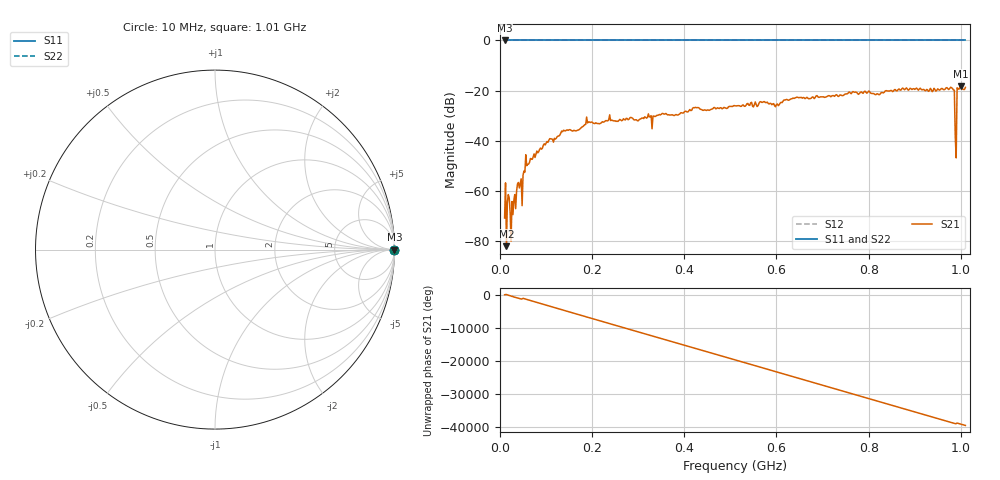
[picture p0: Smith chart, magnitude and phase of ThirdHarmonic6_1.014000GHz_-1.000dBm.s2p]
! 8/16/2025 8:24:14 AM
! C:\ANRITSUVNA\TEMP\TEMP.S2P
! CHANNEL.1
! TR.MEASUREMENT
! RAW.DATA
! RF.CORRECTION.OFF
! AVERAGING.OFF
! IF.BANDWIDTH: 5KHZ
! SWEEPTYPE:  FREQ.SWEEP(Linear)
! Reference Plane Port Info
! PORT:  PORT1  PORT2
! DISTANCE:  0  m  0  m
! TIME:  0  s  0  s
! PHASE.OFFSET:  0  deg.  0  deg.
! LOSS:  0  dB  0  dB
! REF.LOSS:  0  dB  0  dB
! REF.FREQ:  0  Hz  0  Hz
! Power Info
! POWER:  -20  dBm  -20  dBm
! EFF.POWER:  -20  dBm  -20  dBm
! SOURCE.ATTEN:  0  dB  0  dB
! TEST.ATTEN:  0  dB  0  dB
# GHZ S RI R 50.0
! FREQ.GHZ  S11RE  S11IM  S21RE  S21IM  S12RE  S12IM  S22RE  S22IM
!; PortSelection: Port_12
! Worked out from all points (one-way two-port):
!   501 points, 10 MHz to 1.01 GHz, reference 50 ohm
!   highest |S21| = -18.22 dB at 1 GHz (marker M1); lowest = -82.0 dB at 14 MHz (marker M2)
!   lowest |S11| = 0.0 dB at 10 MHz (marker M3)
!   |S11| at or under -10 dB: nowhere
!   |S22| runs from 0.0 to 0.0 dB; largest |S21 - S12| = 1.1
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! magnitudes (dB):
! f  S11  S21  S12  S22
! 10 MHz  0.0  -70.8  0.0  0.0
! 14 MHz  0.0  -82.0  0.0  0.0
! 16 MHz  0.0  -64.5  0.0  0.0
! 26 MHz  0.0  -64.2  0.0  0.0
! 40 MHz  0.0  -56.6  0.0  0.0
! 46 MHz  0.0  -55.2  0.0  0.0
! 54 MHz  0.0  -52.5  0.0  0.0
! 60 MHz  0.0  -49.4  0.0  0.0
! 136 MHz  0.0  -36.4  0.0  0.0
! 178 MHz  0.0  -34.5  0.0  0.0
! 192 MHz  0.0  -32.5  0.0  0.0
! 344 MHz  0.0  -29.8  0.0  0.0
! 510 MHz  0.0  -26.1  0.0  0.0
! 678 MHz  0.0  -22.5  0.0  0.0
! 844 MHz  0.0  -20.2  0.0  0.0
! 980 MHz  0.0  -18.8  0.0  0.0
! 982 MHz  0.0  -19.1  0.0  0.0
! 986 MHz  0.0  -19.8  0.0  0.0
! 992 MHz  0.0  -18.9  0.0  0.0
! 996 MHz  0.0  -19.4  0.0  0.0
! 1 GHz  0.0  -18.2  0.0  0.0
! 1.01 GHz  0.0  -18.7  0.0  0.0
